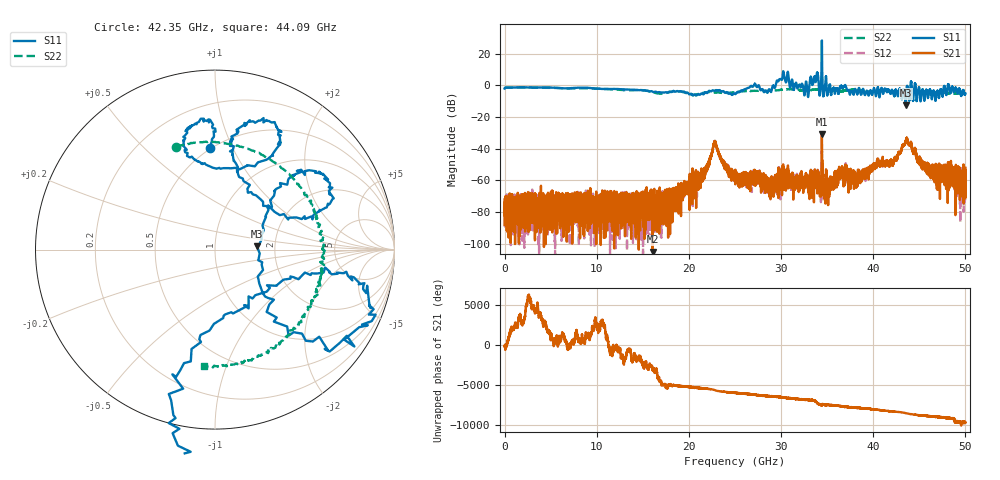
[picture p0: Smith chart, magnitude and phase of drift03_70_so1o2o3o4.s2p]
!Created with skrf (http://scikit-rf.org).
# Hz S RI R 50.0
!freq ReS11 ImS11 ReS21 ImS21 ReS12 ImS12 ReS22 ImS22
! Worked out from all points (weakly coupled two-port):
!   10000 points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, 5.3 MHz to 50 GHz, reference 50 ohm
!   highest |S21| = -30.71 dB at 34.43 GHz (marker M1); lowest = -105.1 dB at 16.07 GHz (marker M2)
!   lowest |S11| = -12.6 dB at 43.52 GHz (marker M3), VSWR 1.61, Z = 80.3 + j3.27 ohm
!   |S11| at or under -10 dB: 43.48378 GHz to 43.55552 GHz (71.75 MHz wide, 0.165 % of centre); 45.13384 GHz to 45.13854 GHz (4.695 MHz wide, 0.0104 % of centre)
!   |S22| runs from -5.9 to -1.3 dB; largest |S21 - S12| = 0.023
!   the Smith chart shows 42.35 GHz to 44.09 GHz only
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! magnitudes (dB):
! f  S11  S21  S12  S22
! 5.3 MHz  -2.1  -88.3  -79.4  -2.1
! 8.34 GHz  -1.5  -74.5  -75.1  -1.9
! 16.07 GHz  -4.1  -105.1  -77.7  -4.4
! 16.67 GHz  -4.4  -72.6  -77.8  -5.2
! 21.04 GHz  -5.6  -57.9  -60.1  -5.5
! 22.82 GHz  -3.4  -35.6  -35.3  -4.5
! 25.01 GHz  -5.5  -57.6  -56.3  -4.3
! 27.02 GHz  -0.3  -59.4  -55.5  -3.4
! 28.72 GHz  -2.5  -61.8  -65.8  -3.6
! 30.14 GHz  4.4  -59.3  -55.3  -2.8
! 32.74 GHz  2.0  -63.0  -61.1  -3.4
! 33.34 GHz  2.7  -54.8  -58.8  -2.9
! 33.82 GHz  4.0  -58.6  -58.4  -2.5
! 34.43 GHz  28.3  -30.7  -36.8  -2.3
! 35.26 GHz  -0.3  -63.4  -63.1  -2.6
! 36.48 GHz  -0.5  -54.2  -57.7  -3.8
! 38.14 GHz  -3.2  -57.6  -60.3  -2.8
! 41.67 GHz  -2.9  -49.9  -50.7  -3.7
! 43.52 GHz  -12.6  -35.5  -35.3  -4.2
! 46.18 GHz  -2.9  -55.9  -53.6  -5.4
! 49.66 GHz  -4.3  -61.1  -63.1  -5.0
! 50 GHz  -5.2  -52.1  -56.9  -5.0
